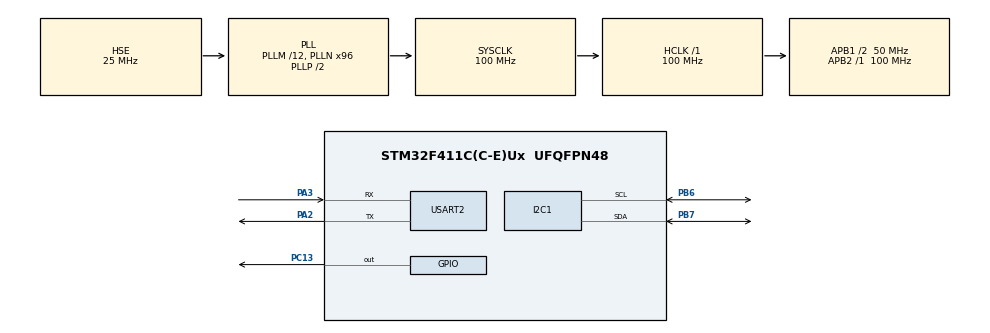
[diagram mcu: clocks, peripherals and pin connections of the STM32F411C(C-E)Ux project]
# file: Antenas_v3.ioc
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Mcu.Family=STM32F4
Mcu.Name=STM32F411C(C-E)Ux
Mcu.Package=UFQFPN48
NVIC.PriorityGroup=NVIC_PRIORITYGROUP_4
PA2.Mode=Asynchronous
PA2.Signal=USART2_TX
PA3.Mode=Asynchronous
PA3.Signal=USART2_RX
PB6.Mode=I2C
PB6.Signal=I2C1_SCL
PB7.Mode=I2C
PB7.Signal=I2C1_SDA
PC13-ANTI_TAMP.Signal=GPIO_Output
PH0\ -\ OSC_IN.Mode=HSE-External-Oscillator
PH0\ -\ OSC_IN.Signal=RCC_OSC_IN
PH1\ -\ OSC_OUT.Mode=HSE-External-Oscillator
PH1\ -\ OSC_OUT.Signal=RCC_OSC_OUT
ProjectManager.HeapSize=0x200
ProjectManager.StackSize=0x400
ProjectManager.TargetToolchain=STM32CubeIDE
RCC.48MHZClocksFreq_Value=50000000
RCC.AHBFreq_Value=100000000
RCC.APB1CLKDivider=RCC_HCLK_DIV2
RCC.APB1Freq_Value=50000000
RCC.APB1TimFreq_Value=100000000
RCC.APB2Freq_Value=100000000
RCC.APB2TimFreq_Value=100000000
RCC.CortexFreq_Value=100000000
RCC.HCLKFreq_Value=100000000
RCC.HSE_VALUE=25000000
RCC.HSI_VALUE=16000000
RCC.LSE_VALUE=32768
RCC.PLLM=12
RCC.PLLN=96
RCC.PLLSourceVirtual=RCC_PLLSOURCE_HSE
RCC.SYSCLKFreq_VALUE=100000000
RCC.SYSCLKSource=RCC_SYSCLKSOURCE_PLLCLK
RCC.VCOOutputFreq_Value=200000000
USART2.VirtualMode=VM_ASYNC
board=custom

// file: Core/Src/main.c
/* USER CODE BEGIN Header */
/**
  ******************************************************************************
  * @file           : main.c
  * @brief          : Main program body
  ******************************************************************************
  * @attention
  *
  * Copyright (c) 2025 STMicroelectronics.
  * All rights reserved.
  *
  * This software is licensed under terms that can be found in the LICENSE file
  * in the root directory of this software component.
  * If no LICENSE file comes with this software, it is provided AS-IS.
  *
  ******************************************************************************
  */
/* USER CODE END Header */
#include "main.h"
#include <stdio.h>

I2C_HandleTypeDef hi2c1;

UART_HandleTypeDef huart2;

/* USER CODE BEGIN PV */
void MPU6050_Init_I2C(void);
const uint8_t MPU6050_ADDR = 0xD0;
/* USER CODE END PV */

void SystemClock_Config(void);
static void MX_GPIO_Init(void);
static void MX_USART2_UART_Init(void);
static void MX_I2C1_Init(void);

int main(void)
{

  /* MCU Configuration--------------------------------------------------------*/

  /* Reset of all peripherals, Initializes the Flash interface and the Systick. */
  HAL_Init();

  /* Configure the system clock */
  SystemClock_Config();

  /* Initialize all configured peripherals */
  MX_GPIO_Init();
  MX_USART2_UART_Init();
  MX_I2C1_Init();
  /* USER CODE BEGIN 2 */
  I2C_HandleTypeDef hi2c1;

  // Buffer para a string JSON e dados
  char json_buffer[128];

  uint8_t MPU_Data_Raw[14];
  /* USER CODE END 2 */

  /* Infinite loop */
  /* USER CODE BEGIN WHILE */
  while (1)
  {
	  HAL_I2C_Mem_Read(&hi2c1, MPU6050_ADDR, 0x3B, 1, MPU_Data_Raw, 14, 100);

	      // 2. --- Conversão de Dados (High Byte + Low Byte) ---
	      // Os dados são armazenados como 16 bits (dois bytes).
	      int16_t AccelX = (MPU_Data_Raw[0] << 8) | MPU_Data_Raw[1];
	      int16_t AccelY = (MPU_Data_Raw[2] << 8) | MPU_Data_Raw[3];
	      int16_t GyroZ = (MPU_Data_Raw[10] << 8) | MPU_Data_Raw[11];

	      // Leitura da Temperatura (para testar o float)
	      int16_t TempRaw = (MPU_Data_Raw[6] << 8) | MPU_Data_Raw[7];
	      float TempC = (float)TempRaw / 340.0f + 36.53f; // Fórmula de conversão do MPU-6050

	      // 3. --- Criação do JSON (Usando sprintf) ---
	      int len = sprintf(json_buffer, "{\"ax\":%d,\"ay\":%d,\"gz\":%d,\"temp\":%.1f}\r\n", AccelX, AccelY, GyroZ, TempC);

	      // 4. --- Envio do JSON via UART2 ---
	      HAL_UART_Transmit(&huart2, (uint8_t*)json_buffer, len, 100);

	      // 5. --- LED de Confirmação ---
	      HAL_GPIO_TogglePin(GPIOC, GPIO_PIN_13);

	      // 6. --- Atraso de Envio ---
	      HAL_Delay(50); // Envia a cada 50ms para uma leitura rápida
    /* USER CODE END WHILE */

  }
}

void SystemClock_Config(void)
{
  RCC_OscInitTypeDef RCC_OscInitStruct = {0};
  RCC_ClkInitTypeDef RCC_ClkInitStruct = {0};

  /** Configure the main internal regulator output voltage
  */
  __HAL_RCC_PWR_CLK_ENABLE();
  __HAL_PWR_VOLTAGESCALING_CONFIG(PWR_REGULATOR_VOLTAGE_SCALE1);

  /** Initializes the RCC Oscillators according to the specified parameters
  * in the RCC_OscInitTypeDef structure.
  */
  RCC_OscInitStruct.OscillatorType = RCC_OSCILLATORTYPE_HSE;
  RCC_OscInitStruct.HSEState = RCC_HSE_ON;
  RCC_OscInitStruct.PLL.PLLState = RCC_PLL_ON;
  RCC_OscInitStruct.PLL.PLLSource = RCC_PLLSOURCE_HSE;
  RCC_OscInitStruct.PLL.PLLM = 12;
  RCC_OscInitStruct.PLL.PLLN = 96;
  RCC_OscInitStruct.PLL.PLLP = RCC_PLLP_DIV2;
  RCC_OscInitStruct.PLL.PLLQ = 4;
  if (HAL_RCC_OscConfig(&RCC_OscInitStruct) != HAL_OK)
  {
    Error_Handler();
  }

  /** Initializes the CPU, AHB and APB buses clocks
  */
  RCC_ClkInitStruct.ClockType = RCC_CLOCKTYPE_HCLK|RCC_CLOCKTYPE_SYSCLK
                              |RCC_CLOCKTYPE_PCLK1|RCC_CLOCKTYPE_PCLK2;
  RCC_ClkInitStruct.SYSCLKSource = RCC_SYSCLKSOURCE_PLLCLK;
  RCC_ClkInitStruct.AHBCLKDivider = RCC_SYSCLK_DIV1;
  RCC_ClkInitStruct.APB1CLKDivider = RCC_HCLK_DIV2;
  RCC_ClkInitStruct.APB2CLKDivider = RCC_HCLK_DIV1;

  if (HAL_RCC_ClockConfig(&RCC_ClkInitStruct, FLASH_LATENCY_3) != HAL_OK)
  {
    Error_Handler();
  }
}

static void MX_I2C1_Init(void)
{

  hi2c1.Instance = I2C1;
  hi2c1.Init.ClockSpeed = 100000;
  hi2c1.Init.DutyCycle = I2C_DUTYCYCLE_2;
  hi2c1.Init.OwnAddress1 = 0;
  hi2c1.Init.AddressingMode = I2C_ADDRESSINGMODE_7BIT;
  hi2c1.Init.DualAddressMode = I2C_DUALADDRESS_DISABLE;
  hi2c1.Init.OwnAddress2 = 0;
  hi2c1.Init.GeneralCallMode = I2C_GENERALCALL_DISABLE;
  hi2c1.Init.NoStretchMode = I2C_NOSTRETCH_DISABLE;
  if (HAL_I2C_Init(&hi2c1) != HAL_OK)
  {
    Error_Handler();
  }

}

static void MX_USART2_UART_Init(void)
{

  huart2.Instance = USART2;
  huart2.Init.BaudRate = 115200;
  huart2.Init.WordLength = UART_WORDLENGTH_8B;
  huart2.Init.StopBits = UART_STOPBITS_1;
  huart2.Init.Parity = UART_PARITY_NONE;
  huart2.Init.Mode = UART_MODE_TX_RX;
  huart2.Init.HwFlowCtl = UART_HWCONTROL_NONE;
  huart2.Init.OverSampling = UART_OVERSAMPLING_16;
  if (HAL_UART_Init(&huart2) != HAL_OK)
  {
    Error_Handler();
  }

}

static void MX_GPIO_Init(void)
{
  GPIO_InitTypeDef GPIO_InitStruct = {0};

  /* GPIO Ports Clock Enable */
  __HAL_RCC_GPIOC_CLK_ENABLE();
  __HAL_RCC_GPIOH_CLK_ENABLE();
  __HAL_RCC_GPIOA_CLK_ENABLE();
  __HAL_RCC_GPIOB_CLK_ENABLE();

  /*Configure GPIO pin Output Level */
  HAL_GPIO_WritePin(GPIOC, GPIO_PIN_13, GPIO_PIN_RESET);

  /*Configure GPIO pin : PC13 */
  GPIO_InitStruct.Pin = GPIO_PIN_13;
  GPIO_InitStruct.Mode = GPIO_MODE_OUTPUT_PP;
  GPIO_InitStruct.Pull = GPIO_NOPULL;
  GPIO_InitStruct.Speed = GPIO_SPEED_FREQ_LOW;
  HAL_GPIO_Init(GPIOC, &GPIO_InitStruct);

}

/* USER CODE BEGIN 4 */
void MPU6050_Init_I2C(void)
{
    // Acorda o MPU-6050 (escreve 0 no registo PWR_MGMT_1, endereço 0x6B)
    uint8_t Data = 0;

    // O MPU-6050 demora um pouco a inicializar, HAL_MAX_DELAY é usado para esperar
    HAL_I2C_Mem_Write(&hi2c1, MPU6050_ADDR, 0x6B, 1, &Data, 1, HAL_MAX_DELAY);
}
/* USER CODE END 4 */

void Error_Handler(void)
{
  __disable_irq();
  while (1)
  {
  }
}
